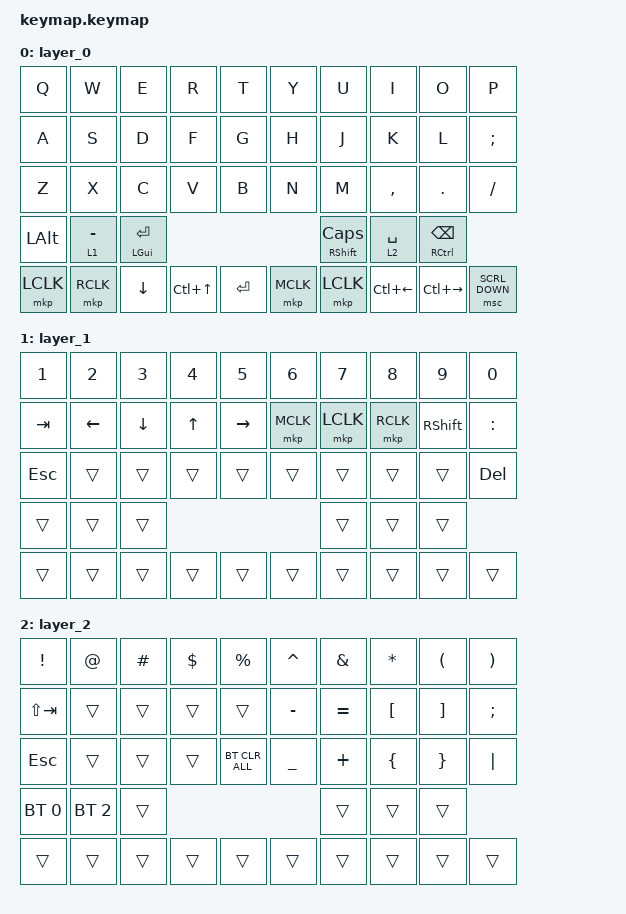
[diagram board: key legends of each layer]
/*
 * tecla-cero キーマップ設定
 *
 * 48キー分割キーボード（左24 + 右24）
 * 3レイヤー構成
 *
 * ZMK Studioでリアルタイム編集可能
 */

#define ZMK_POINTING_DEFAULT_SCRL_VAL 200

#include <behaviors.dtsi>
#include <dt-bindings/zmk/bt.h>
#include <dt-bindings/zmk/keys.h>
#include <dt-bindings/zmk/pointing.h>

/ {
    /*
     * dya studio (ZMK Studio) 割当用マクロ
     *
     * &mmv / &msc は Studio 用のパラメータメタデータが ZMK 本体に無く、
     * Studio UI からは引数付きで直接割当できない。引数なしマクロに
     * ラップしておくことで、タクトスイッチ等へ Studio から割当可能になる。
     * 長押しで連続動作するよう press / pause / release 構成。
     * 速度は dya studio のランタイムプロセッサ (key-mouse / key-scroll) で調整。
     */

    macros {
        scroll_up: scroll_up {
            compatible = "zmk,behavior-macro";
            #binding-cells = <0>;
            display-name = "Scroll Up";
            bindings = <&macro_press &msc SCRL_UP>,
                       <&macro_pause_for_release>,
                       <&macro_release &msc SCRL_UP>;
        };

        scroll_down: scroll_down {
            compatible = "zmk,behavior-macro";
            #binding-cells = <0>;
            display-name = "Scroll Down";
            bindings = <&macro_press &msc SCRL_DOWN>,
                       <&macro_pause_for_release>,
                       <&macro_release &msc SCRL_DOWN>;
        };

        scroll_left: scroll_left {
            compatible = "zmk,behavior-macro";
            #binding-cells = <0>;
            display-name = "Scroll Left";
            bindings = <&macro_press &msc SCRL_LEFT>,
                       <&macro_pause_for_release>,
                       <&macro_release &msc SCRL_LEFT>;
        };

        scroll_right: scroll_right {
            compatible = "zmk,behavior-macro";
            #binding-cells = <0>;
            display-name = "Scroll Right";
            bindings = <&macro_press &msc SCRL_RIGHT>,
                       <&macro_pause_for_release>,
                       <&macro_release &msc SCRL_RIGHT>;
        };

        mouse_up: mouse_up {
            compatible = "zmk,behavior-macro";
            #binding-cells = <0>;
            display-name = "Mouse Up";
            bindings = <&macro_press &mmv MOVE_UP>,
                       <&macro_pause_for_release>,
                       <&macro_release &mmv MOVE_UP>;
        };

        mouse_down: mouse_down {
            compatible = "zmk,behavior-macro";
            #binding-cells = <0>;
            display-name = "Mouse Down";
            bindings = <&macro_press &mmv MOVE_DOWN>,
                       <&macro_pause_for_release>,
                       <&macro_release &mmv MOVE_DOWN>;
        };

        mouse_left: mouse_left {
            compatible = "zmk,behavior-macro";
            #binding-cells = <0>;
            display-name = "Mouse Left";
            bindings = <&macro_press &mmv MOVE_LEFT>,
                       <&macro_pause_for_release>,
                       <&macro_release &mmv MOVE_LEFT>;
        };

        mouse_right: mouse_right {
            compatible = "zmk,behavior-macro";
            #binding-cells = <0>;
            display-name = "Mouse Right";
            bindings = <&macro_press &mmv MOVE_RIGHT>,
                       <&macro_pause_for_release>,
                       <&macro_release &mmv MOVE_RIGHT>;
        };
    };

    /*
     * コンボ設定
     * 複数キー同時押しで特殊動作
     */

    combos {
        compatible = "zmk,combos";

        // Layer 2でキー28+29同時押し → Bluetoothペアリング解除

        bt_clear {
            bindings = <&bt BT_CLR>;
            key-positions = <28 29>;
            layers = <2>;
        };
    };

    keymap {
        compatible = "zmk,keymap";

        /*
         * Layer 0: デフォルト（QWERTY）
         *
         * ┌───┬───┬───┬───┬───┐   ┌───┬───┬───┬───┬───┐
         * │ Q │ W │ E │ R │ T │   │ Y │ U │ I │ O │ P │
         * ├───┼───┼───┼───┼───┤   ├───┼───┼───┼───┼───┤
         * │ A │ S │ D │ F │ G │   │ H │ J │ K │ L │ ; │
         * ├───┼───┼───┼───┼───┤   ├───┼───┼───┼───┼───┤
         * │ Z │ X │ C │ V │ B │   │ N │ M │ , │ . │ / │
         * ├───┼───┼───┼───┼───┤   ├───┼───┼───┼───┼───┤
         * │Alt│   │   │L1 │ENT│   │Sft│   │   │L2 │C⌫ │
         * └───┴───┴───┴───┴───┘   └───┴───┴───┴───┴───┘
         *
         * サム行(各側3キー):
         *   L1 = lt 1 MINUS（長押しLayer1 / タップ -）
         *   ENT = mt LEFT_GUI ENTER（長押しGUI / タップEnter）
         *   Sft = mt RIGHT_SHIFT CAPS（長押しShift / タップCaps）
         *   L2 = lt 2 SPACE（長押しLayer2 / タップSpace）
         *   C⌫ = mt RCTRL BSPC（長押しCtrl / タップBackspace）
         */

        layer_0 {
            bindings = <
&kp Q         &kp W      &kp E  &kp R        &kp T               &kp Y                 &kp U        &kp I      &kp O      &kp P
&kp A         &kp S      &kp D  &kp F        &kp G               &kp H                 &kp J        &kp K      &kp L      &kp SEMICOLON
&kp Z         &kp X      &kp C  &kp V        &kp B               &kp N                 &kp M        &kp COMMA  &kp DOT    &kp SLASH
&kp LEFT_ALT            &lt 1 MINUS  &mt LEFT_GUI ENTER  &mt RIGHT_SHIFT CAPS  &lt 2 SPACE                        &mt RCTRL BSPC
&mkp LCLK     &mkp RCLK &kp DOWN   &kp LC(UP)    &kp ENTER     &mkp MCLK             &mkp LCLK      &kp LC(LEFT) &kp LC(RIGHT) &msc SCRL_DOWN
            >;
        };

        /*
         * Layer 1: 数字・ナビゲーション
         *
         * ┌───┬───┬───┬───┬───┐   ┌───┬───┬───┬───┬───┐
         * │ 1 │ 2 │ 3 │ 4 │ 5 │   │ 6 │ 7 │ 8 │ 9 │ 0 │
         * ├───┼───┼───┼───┼───┤   ├───┼───┼───┼───┼───┤
         * │TAB│   │   │   │   │   │ ← │ ↓ │ ↑ │ → │BSP│
         * ├───┼───┼───┼───┼───┤   ├───┼───┼───┼───┼───┤
         * │SFT│   │   │   │   │   │   │   │   │   │DEL│
         * ├───┼───┼───┼───┼───┤   ├───┼───┼───┼───┼───┤
         * │   │   │   │▓▓▓│   │   │   │   │   │   │   │
         * └───┴───┴───┴───┴───┘   └───┴───┴───┴───┴───┘
         *
         */

        layer_1 {
            bindings = <
&kp N1      &kp N2    &kp N3    &kp N4        &kp N5     &kp N6     &kp N7     &kp N8     &kp N9           &kp N0
&kp TAB     &kp LEFT  &kp DOWN  &kp UP_ARROW  &kp RIGHT  &mkp MCLK  &mkp LCLK  &mkp RCLK  &kp RIGHT_SHIFT  &kp COLON
&kp ESCAPE  &trans    &trans    &trans        &trans     &trans     &trans     &trans     &trans           &kp DEL
&trans                  &trans        &trans     &trans     &trans                           &trans
&trans      &trans    &trans    &trans        &trans     &trans     &trans     &trans     &trans           &trans
            >;
        };

        /*
         * Layer 2: 記号・ファンクション・Bluetooth
         *
         * ┌───┬───┬───┬───┬───┐   ┌───┬───┬───┬───┬───┐
         * │ ! │ @ │ # │ $ │ % │   │ ^ │ & │ * │ ( │ ) │
         * ├───┼───┼───┼───┼───┤   ├───┼───┼───┼───┼───┤
         * │F1 │F2 │F3 │F4 │F5 │   │ - │ = │ [ │ ] │ \ │
         * ├───┼───┼───┼───┼───┤   ├───┼───┼───┼───┼───┤
         * │F6 │F7 │F8 │F9 │F10│   │ _ │ + │ { │ } │ | │
         * ├───┼───┼───┼───┼───┤   ├───┼───┼───┼───┼───┤
         * │BT │OUT│   │   │   │   │   │▓▓▓│   │   │   │
         * └───┴───┴───┴───┴───┘   └───┴───┴───┴───┴───┘
         *
         * BT: 次のBTプロファイルへ切替
         * OUT: USB/BLE出力切替
         */

        layer_2 {
            bindings = <
&kp EXCL      &kp AT        &kp HASH  &kp DLLR      &kp PRCNT       &kp CARET  &kp AMPS   &kp ASTRK  &kp LPAR       &kp RPAR
&kp LS(TAB)   &trans        &trans    &trans        &trans          &kp MINUS  &kp EQUAL  &kp LBKT   &kp RBKT       &kp SEMICOLON
&kp ESCAPE    &trans        &trans    &trans        &bt BT_CLR_ALL  &kp UNDER  &kp PLUS   &kp LBRC   &kp RBRC       &kp PIPE
&bt BT_SEL 0                &bt BT_SEL 2  &trans          &trans     &trans                           &trans
&trans        &trans        &trans    &trans        &trans          &trans     &trans     &trans     &trans           &trans
            >;
        };
    };
};
